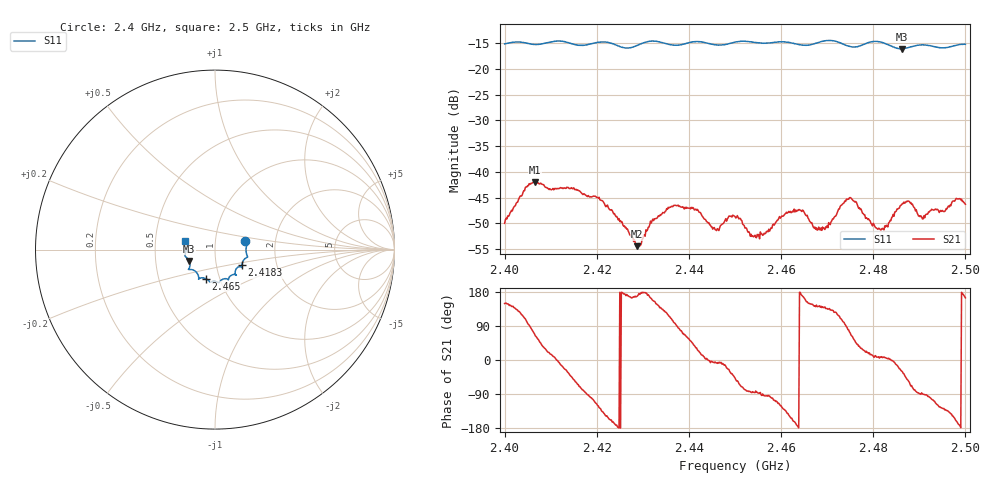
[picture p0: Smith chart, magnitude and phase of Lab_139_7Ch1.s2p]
# Hz S RI R 50
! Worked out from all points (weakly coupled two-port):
!   601 points, 2.4 GHz to 2.5 GHz, reference 50 ohm
!   highest |S21| = -41.98 dB at 2.4067 GHz (marker M1); lowest = -54.4 dB at 2.4287 GHz (marker M2)
!   lowest |S11| = -16.1 dB at 2.4862 GHz (marker M3), VSWR 1.37, Z = 37.2 - j4.81 ohm
!   |S11| at or under -10 dB: start of sweep to end of sweep
!   S12 and S22 are empty: the file has one direction only
!   S11 on the Smith chart (normalised r, x): 2.4 GHz: 1.40, +0.13; 2.4183 GHz: 1.33, -0.24; 2.465 GHz: 0.86, -0.28; 2.5 GHz: 0.71, +0.07
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2.4e9  0.1687 0.0463  -0.00271 0.00163  0 0  0 0
2.406667e9  0.1725 0.00095  0.00352 0.00715  0 0  0 0
2.416667e9  0.1546 -0.0679  0.00158 -0.00605  0 0  0 0
2.418333e9  0.1498 -0.087  -0.000524 -0.00572  0 0  0 0
2.421e9  0.1522 -0.1007  -0.00363 -0.00383  0 0  0 0
2.428667e9  0.1124 -0.1253  -0.00185 0.000409  0 0  0 0
2.433333e9  0.1179 -0.1412  -0.00303 0.00218  0 0  0 0
2.4405e9  0.0752 -0.1656  0.00296 0.00342  0 0  0 0
2.446167e9  0.0524 -0.1625  0.00278 -0.000434  0 0  0 0
2.45e9  0.0256 -0.1801  0.00249 -0.00271  0 0  0 0
2.454167e9  0.0137 -0.1805  0.000183 -0.00236  0 0  0 0
2.4615e9  -0.0305 -0.1786  -0.00314 -0.00252  0 0  0 0
2.465e9  -0.0523 -0.1614  -0.00389 0.00114  0 0  0 0
2.466667e9  -0.0711 -0.1573  -0.00269 0.00175  0 0  0 0
2.469667e9  -0.091 -0.1643  -0.0021 0.00203  0 0  0 0
2.474833e9  -0.0994 -0.132  0.00152 0.00539  0 0  0 0
2.480833e9  -0.148 -0.1104  0.00278 0.000359  0 0  0 0
2.483333e9  -0.141 -0.0965  0.00318 0.000261  0 0  0 0
2.486167e9  -0.1433 -0.063  0.00419 -0.00237  0 0  0 0
2.488e9  -0.1562 -0.0464  0.00218 -0.00451  0 0  0 0
2.490667e9  -0.1675 -0.035  4.09e-05 -0.00349  0 0  0 0
2.5e9  -0.1667 0.0472  -0.00466 0.00133  0 0  0 0
